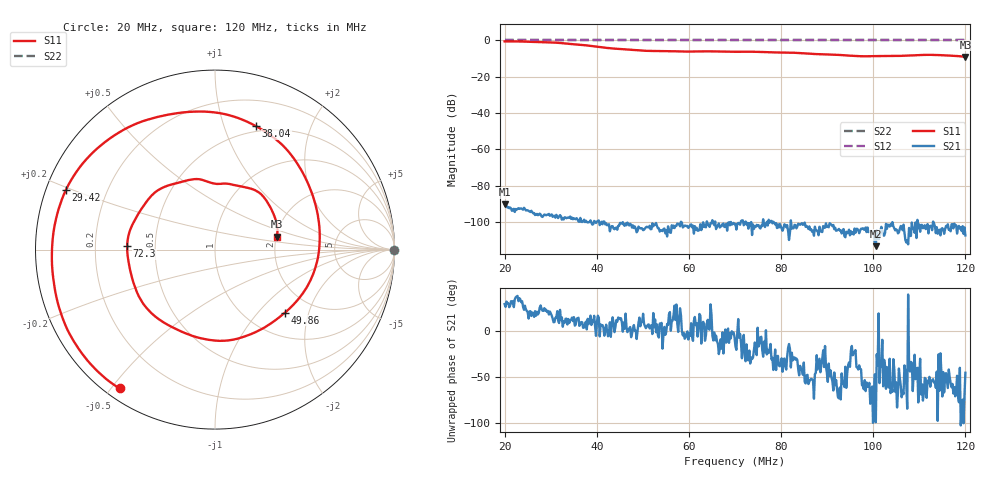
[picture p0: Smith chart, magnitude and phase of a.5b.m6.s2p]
! Anritsu VNA Master:  Model: MS2036C/10/77
! SN:  1601066
! /bd0/18may8/255.ns.m6.s2p
! Existing Calibration Information:
! TYPE:  Current Settings,  Active Cal Settings
! TIME:  05/08/2018 11:19:57 AM,  05/08/2018 11:16:31 AM
! INTERNAL TEMP:  51.5 C,  51.3 C
! # POINTS:  500,  500
! START FREQ:  20.000 MHz,  20.000 MHz
! STOP FREQ:  120.000 MHz,  120.000 MHz
! SOURCE POWER:  High,  High
! IFBW:  50 Hz,  50 Hz
! AVG FACTOR:  1 ,  1
! REF PLANE 1:  0 mm,  0 mm
! REF PLANE 2:  0 mm,  0 mm
! CAL TYPE:  Full S11,  Full S11
! CAL METHOD:  SOLT,  SOLT
! CAL LINE TYPE:  Coax,  Coax
! DUT PORT 1:  K-Conn(F),  K-Conn(F)
! DUT PORT 2:  K-Conn(F),  K-Conn(F)
! CAL STATUS:  OK: Accuracy High,  --
# GHZ S DB R 50.0
! FREQ.GHZ  S11DB  S11A  S21DB  S21A  S12DB  S12A  S22DB  S22A
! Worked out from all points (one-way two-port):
!   500 points, 20 MHz to 120 MHz, reference 50 ohm
!   highest |S21| = -90.46 dB at 20 MHz (marker M1); lowest = -113.5 dB at 100.6 MHz (marker M2)
!   lowest |S11| = -9.0 dB at 120 MHz (marker M3), VSWR 2.09, Z = 101 + j16.6 ohm
!   |S11| at or under -10 dB: nowhere
!   |S22| runs from 0.0 to 0.0 dB; largest |S21 - S12| = 1
!   S11 on the Smith chart (normalised r, x): 20 MHz: 0.04, -0.53; 29.42 MHz: 0.06, +0.19; 38.04 MHz: 0.44, +1.29; 49.86 MHz: 1.47, -1.42; 72.3 MHz: 0.34, +0.02; 120 MHz: 2.02, +0.33
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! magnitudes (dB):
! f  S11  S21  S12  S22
! 20 MHz  -0.6  -90.5  0.0  0.0
! 23.21 MHz  -0.6  -92.9  0.0  0.0
! 29.42 MHz  -1.0  -95.9  0.0  0.0
! 36.83 MHz  -2.5  -100.1  0.0  0.0
! 38.04 MHz  -2.8  -100.4  0.0  0.0
! 43.05 MHz  -4.3  -103.1  0.0  0.0
! 49.86 MHz  -5.6  -103.7  0.0  0.0
! 53.47 MHz  -5.8  -103.6  0.0  0.0
! 59.48 MHz  -6.1  -102.5  0.0  0.0
! 64.29 MHz  -6.0  -102.1  0.0  0.0
! 70.1 MHz  -6.3  -101.1  0.0  0.0
! 72.3 MHz  -6.2  -99.8  0.0  0.0
! 82.32 MHz  -6.7  -103.7  0.0  0.0
! 86.73 MHz  -7.4  -105.5  0.0  0.0
! 92.14 MHz  -7.9  -104.7  0.0  0.0
! 96.95 MHz  -8.7  -106.3  0.0  0.0
! 100.6 MHz  -8.6  -113.5  0.0  0.0
! 103.4 MHz  -8.5  -102.0  0.0  0.0
! 106.4 MHz  -8.5  -104.6  0.0  0.0
! 112.6 MHz  -7.9  -102.3  0.0  0.0
! 117.4 MHz  -8.5  -103.6  0.0  0.0
! 120 MHz  -9.0  -107.5  0.0  0.0
